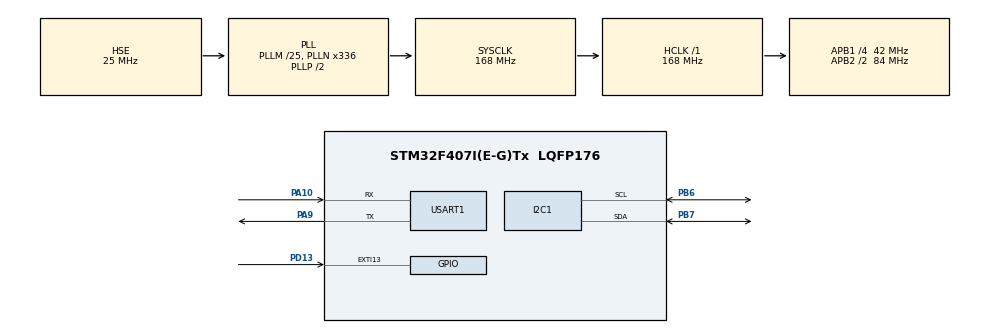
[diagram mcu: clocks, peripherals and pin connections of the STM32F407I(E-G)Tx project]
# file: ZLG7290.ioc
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I2C1.DualAddressMode=I2C_DUALADDRESS_DISABLED
I2C1.GeneralCallMode=I2C_GENERALCALL_ENABLED
Mcu.Family=STM32F4
Mcu.Name=STM32F407I(E-G)Tx
Mcu.Package=LQFP176
NVIC.EXTI15_10_IRQn=true\:0\:0\:false
NVIC.PriorityGroup=NVIC_PRIORITYGROUP_4
NVIC.USART1_IRQn=true\:0\:0\:false
PA10.Mode=Asynchronous
PA10.Signal=USART1_RX
PA9.Mode=Asynchronous
PA9.Signal=USART1_TX
PB6.Mode=I2C
PB6.Signal=I2C1_SCL
PB7.Mode=I2C
PB7.Signal=I2C1_SDA
PD13.GPIO_ModeDefaultEXTI=GPIO_MODE_IT_FALLING
PD13.GPIO_PuPd=GPIO_NOPULL
PD13.Signal=GPXTI13
PH0-OSC_IN.Mode=HSE-External-Oscillator
PH0-OSC_IN.Signal=RCC_OSC_IN
PH1-OSC_OUT.Mode=HSE-External-Oscillator
PH1-OSC_OUT.Signal=RCC_OSC_OUT
ProjectManager.HeapSize=0x200
ProjectManager.StackSize=0x400
ProjectManager.TargetToolchain=MDK-ARM V5
RCC.48MHZClocksFreq_Value=84000000
RCC.AHBFreq_Value=168000000
RCC.APB1CLKDivider=RCC_HCLK_DIV4
RCC.APB1Freq_Value=42000000
RCC.APB1TimFreq_Value=84000000
RCC.APB2CLKDivider=RCC_HCLK_DIV2
RCC.APB2Freq_Value=84000000
RCC.APB2TimFreq_Value=168000000
RCC.CortexFreq_Value=168000000
RCC.HCLKFreq_Value=168000000
RCC.HSE_VALUE=25000000
RCC.HSI_VALUE=16000000
RCC.LSE_VALUE=32768
RCC.PLLM=25
RCC.PLLN=336
RCC.PLLSourceVirtual=RCC_PLLSOURCE_HSE
RCC.SYSCLKFreq_VALUE=168000000
RCC.SYSCLKSource=RCC_SYSCLKSOURCE_PLLCLK
RCC.VCOOutputFreq_Value=336000000
USART1.VirtualMode=VM_ASYNC
board=ZLG7290

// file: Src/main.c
/**
  ******************************************************************************
  * File Name          : main.c
  * Description        : Main program body
  ******************************************************************************
  *
  * COPYRIGHT(c) 2015 STMicroelectronics
  *
  * Redistribution and use in source and binary forms, with or without modification,
  * are permitted provided that the following conditions are met:
  *   1. Redistributions of source code must retain the above copyright notice,
  *      this list of conditions and the following disclaimer.
  *   2. Redistributions in binary form must reproduce the above copyright notice,
  *      this list of conditions and the following disclaimer in the documentation
  *      and/or other materials provided with the distribution.
  *   3. Neither the name of STMicroelectronics nor the names of its contributors
  *      may be used to endorse or promote products derived from this software
  *      without specific prior written permission.
  *
  * THIS SOFTWARE IS PROVIDED BY THE COPYRIGHT HOLDERS AND CONTRIBUTORS "AS IS"
  * AND ANY EXPRESS OR IMPLIED WARRANTIES, INCLUDING, BUT NOT LIMITED TO, THE
  * IMPLIED WARRANTIES OF MERCHANTABILITY AND FITNESS FOR A PARTICULAR PURPOSE ARE
  * DISCLAIMED. IN NO EVENT SHALL THE COPYRIGHT HOLDER OR CONTRIBUTORS BE LIABLE
  * FOR ANY DIRECT, INDIRECT, INCIDENTAL, SPECIAL, EXEMPLARY, OR CONSEQUENTIAL
  * DAMAGES (INCLUDING, BUT NOT LIMITED TO, PROCUREMENT OF SUBSTITUTE GOODS OR
  * SERVICES; LOSS OF USE, DATA, OR PROFITS; OR BUSINESS INTERRUPTION) HOWEVER
  * CAUSED AND ON ANY THEORY OF LIABILITY, WHETHER IN CONTRACT, STRICT LIABILITY,
  * OR TORT (INCLUDING NEGLIGENCE OR OTHERWISE) ARISING IN ANY WAY OUT OF THE USE
  * OF THIS SOFTWARE, EVEN IF ADVISED OF THE POSSIBILITY OF SUCH DAMAGE.
  *
  ******************************************************************************
  */
#include "stm32f4xx_hal.h"
#include "stm32f4xx_it.h"
#include "i2c.h"
#include "usart.h"
#include "gpio.h"
#include "time.h"
/* USER CODE BEGIN Includes */
#include "zlg7290.h"
#include "stdio.h"
#include "stdlib.h"
/* USER CODE END Includes */

/* USER CODE BEGIN PV */
/* Private variables ---------------------------------------------------------*/
#define ZLG_READ_ADDRESS1         0x01
#define ZLG_READ_ADDRESS2         0x10
#define ZLG_WRITE_ADDRESS1        0x10
#define ZLG_WRITE_ADDRESS2        0x11
//#define BUFFER_SIZE1              (countof(Tx1_Buffer))
#define BUFFER_SIZE2              (countof(Rx2_Buffer))
#define countof(a) (sizeof(a) / sizeof(*(a)))

#define Num_Backup 3 //定义备份的数量
#define Clock_Max 0xffffffffffffffff
#define ARG_FADE_FLAG 1
#define ARG_RX2_BUFFER 2
#define ARG_READ_IN 3

#define Key 5

//uint8_t flag;//?????????????
uint8_t flag1 = 0;//?????,??????????,?????8??????
uint8_t Rx2_Buffer[8]={0};
uint8_t Rx2_Buffer_print[8]={0};
uint8_t All_Zero[8] = {0};
uint8_t Init_times = 0;

uint8_t fade_flag = 0;

uint8_t ve_Rx2; // 校验
uint8_t ve_Read;
uint8_t ve_fade;

uint8_t done_list = 0;
clock_t start, ct_time; //
double pass_time;
double pass_init_time;
clock_t last_init;

clock_t last_refresh;
uint8_t im_refresh;

uint8_t m_index;
uint32_t music[] = {261, 277, 293, 311, 329, 349, 370, 392, 415, 440, 466, 493, 523, 554, 587, 622};

uint32_t Max_delay = 1000; // ms
uint32_t Sequance = 0;

uint8_t Read_in = 0;
uint8_t Read_in_Check = 0;
uint8_t read_ok = 0;
uint8_t read_time = 0;
uint8_t ve_count = 0;

//备份结构体
typedef struct backup {
	uint8_t Rx2_Buffer[8];
	uint8_t Read_in;
	uint8_t fade_flag;
	uint8_t v_Rx2; // 校验
	uint8_t v_Read;
	uint8_t v_fade;
}Backup;

//备份结构体指针
typedef struct Node {
	Backup backup;
	struct Node* next;
}Node;

Node* Leader; // 备份链表的头结点

//uint8_t Rx1_Buffer[1]={0};
/* USER CODE END PV */

void SystemClock_Config(void);

/* USER CODE BEGIN PFP */
/* Private function prototypes -----------------------------------------------*/
void swtich_key(void);
void switch_flag(void);
void headLoop(void);
void bottomLoop(void);
void showScreen(void);
uint8_t* getvalue(uint8_t opt);
/* USER CODE END PFP */

//初始化备份节点
int init_Backup() {
	int i,j;
	Leader = (Node*)malloc(sizeof(Node));
	Node* temp = Leader;
	Node* New;
	Node* wait_free[15];
	Leader->next = NULL;
	for (i = 0; i < Num_Backup - 1; i++) {
		//转变位置
		for (j = 0; j < 5; j++) {
			wait_free[i*5+j] = (Node*)malloc(sizeof(Node));
			if (wait_free[i*5+j] == NULL) {
				printf("[SysInfo] Malloc Error\n");
				return -1;
			}
		}
		New = (Node*)malloc(sizeof(Node));
		if (New == NULL) {
				printf("[SysInfo] Malloc Error\n");
				return -1;
		}
		temp->next = New;
		temp = New;
	}
	for(i = 0; i < 10;i++){
		free(wait_free[i]);
	}
	return 0;
}

//计算校验位
void compute_vbit(Backup* backup) {
	int8_t count = 0;
	int i;
	for (i = 0; i < 8; i++) {
		count += backup->Rx2_Buffer[i];
	}
	backup->v_Rx2 = count;
	backup->v_fade = backup->fade_flag;
	backup->v_Read = backup->Read_in;
}
void computer_vRx2(uint8_t Rx2_Buffer[]){
	int8_t count = 0;
	int i;
	for (i = 0; i < 8; i++) {
		count += Rx2_Buffer[i];
	}
	ve_Rx2 = count;
}
int verify_all(Backup* backup){
	int8_t count = 0;
	int i;
	for (i = 0; i < 8; i++) {
		count += backup->Rx2_Buffer[i];
	}
	if((backup->v_Rx2 == count) && (backup->v_fade == backup->fade_flag) && (backup->Read_in ==backup->v_Read))
		return 1;
	else
		return 0;
}
//验证校验位是否正确，返回1表示验证正确，返回0即错误
int verify_Rx2(uint8_t Rx2_Buffer[]) {
	ve_count = 0;
	for (int i = 0; i < 8; i++) {
		ve_count += Rx2_Buffer[i];
	}
	return ve_Rx2 == ve_count;
}

int verify_Read_in(uint8_t Read_in){
	return Read_in == ve_Read;
}
//更新备份
void update() {
	Node* temp = Leader;
	int i;
	while (temp != NULL) {
		for (i = 0; i < 8; i++) {
			temp->backup.Rx2_Buffer[i] = Rx2_Buffer[i];
		}
		temp->backup.fade_flag = fade_flag;
		temp->backup.Read_in = Read_in;
		temp = temp->next;
	}
}

void update_cer(uint8_t file){
	Node* temp = Leader;
	int i;
	while (temp != NULL) {
		switch(file){
			case ARG_FADE_FLAG:temp->backup.fade_flag = fade_flag;break;
			case ARG_RX2_BUFFER: {
				for (i = 0; i < 8; i++) {
					temp->backup.Rx2_Buffer[i] = Rx2_Buffer[i];
				}
			}break;
			case ARG_READ_IN:temp->backup.Read_in = Read_in;break;
		}
		temp = temp->next;
	}
}
//每次正确读之后写其它备份节点
void write(Backup *std) {
	Node* temp = Leader;
	while (temp != NULL) {
		temp->backup = *std;
		temp = temp->next;
	}
}
//从备份节点中读
void read() {
	Node* temp = Leader;
	int i;
	while (temp!= NULL) {
		if (verify_all(&temp->backup)) {
			for (i = 0; i < 8; i++) {
				Rx2_Buffer[i] = temp->backup.Rx2_Buffer[i];
			}
			fade_flag = temp->backup.fade_flag;
			Read_in = temp->backup.Read_in;
			write(&temp->backup); //将其他备份修改为此备份
			break;
		}
		temp = temp->next;
	}
}

void get_Cer(int cer){
	Node* temp = Leader;
	int i;
	while (temp!= NULL) {
		if (verify_all(&temp->backup)) {
			switch(cer){
				case ARG_FADE_FLAG:
					fade_flag = temp->backup.fade_flag;
					break;
				case ARG_RX2_BUFFER:
					for (i = 0; i < 8; i++) {
						Rx2_Buffer[i] = temp->backup.Rx2_Buffer[i];
					}

					break;
				case ARG_READ_IN:
					Read_in = temp->backup.Read_in;
					break;
			}
			break;
		}
		temp = temp->next;
	}
}

void time_delay() {
	if (Max_delay) {
		uint32_t rand_delay = rand() % Max_delay;
		HAL_Delay(rand_delay);
		Max_delay -= rand_delay;
	}
}

void Mealy(int i){
	Sequance = 0;
	done_list = 0;
	switch(i){
		case 1:headLoop();bottomLoop(); done_list = 1;break;		//开始
		case 2:bottomLoop();headLoop(); done_list = 1;break;		//取数据+显示数据
	}
	if(done_list)
		showScreen();
	else
		printf("[SysErr] Out Of Order!\n");
}
/*
int Mealy(int i){
	switch(i){
		case 1:bottomLoop();				//开始
		case 2:headLoop();break;		//取数据+显示数据
	}
}
*/
int statusJustice(){
	if((pass_time < 3 && *getvalue(ARG_FADE_FLAG) != 0)){
		return 0;
	}
	return 1;				//0 异常 1 正常
}

uint8_t* getvalue(uint8_t opt){
	switch(opt){
		//fade_flag
		case ARG_FADE_FLAG:
			if(fade_flag != ve_fade){
				get_Cer(ARG_FADE_FLAG);
				update_cer(ARG_FADE_FLAG);
				ve_fade = fade_flag;
			}
			return &fade_flag;

		//Rx2_Buffer
		case ARG_RX2_BUFFER:
			if(!verify_Rx2(Rx2_Buffer))
				get_Cer(ARG_RX2_BUFFER);
				update_cer(ARG_RX2_BUFFER);
				computer_vRx2(Rx2_Buffer);
			return Rx2_Buffer;
		//Read_in
		case ARG_READ_IN:
			if(Read_in != ve_Read){
				get_Cer(ARG_READ_IN);
				update_cer(ARG_READ_IN);
				ve_Read = Read_in;
			}
			return &Read_in;
	}
	return NULL;
}

void reInitData(){

  /* MCU Configuration----------------------------------------------------------*/

  /* Reset of all peripherals, Initializes the Flash interface and the Systick. */
  HAL_Init();

  /* Configure the system clock */
  SystemClock_Config();

  /* Initialize all configured peripherals */
  MX_GPIO_Init(); // 使用之前初始化 周期性刷新
  MX_I2C1_Init();
  MX_USART1_UART_Init();
  last_init = HAL_GetTick();
  /* USER CODE BEGIN 2 */
	/*
	printf("\n\r");
	printf("\n\r-------------------------------------------------\r\n");
	printf("\n\r FS-STM32??? ?????????\r\n");
  */

	/* USER CODE END 2 */

  /* Infinite loop */
  /* USER CODE BEGIN WHILE */
}

void headLoop(){
	srand(HAL_GetTick());
	Max_delay = 1;
	Sequance = 0;
	ct_time = HAL_GetTick();

	pass_time = (double)(ct_time - start) / 1000;
	if(pass_time > 3 && *getvalue(ARG_FADE_FLAG) == 0){
		fade_flag = 1;
		//输出休眠
		printf("[SysInfo] sleep\n");
		//更新备份
		update();
	}

	// 防止计时器翻转，定义Clock_Max
	pass_init_time = (double)(ct_time - last_init);
	if (pass_init_time < 0) {
		pass_init_time += (double)Clock_Max;
	}
	if(pass_init_time > 11451 && flag1 != 1){
		reInitData();
	}

	if(!statusJustice()){
			//恢复备份s
		read();
	}
}
void bottomLoop(){
	//Debug

	if(flag1 == 1) // 超时初始化处理
	{
			flag1 = 0;
			m_index = 100; //init
			start = HAL_GetTick();
			if(*getvalue(ARG_FADE_FLAG) > 0) {
				I2C_ZLG7290_Write(&hi2c1,0x70,ZLG_WRITE_ADDRESS1,getvalue(ARG_RX2_BUFFER),8);
				fade_flag = 0;
				ve_fade =fade_flag;
				update();
				//输出唤醒
				printf("[SysInfo] wake up\n");
				return ;
			}

			// I2C_ZLG7290_Read(&hi2c1,0x71,0x01,Rx2_Buffer + 7,1);// 不读两次处理 solved

			uint8_t *p1 = &Read_in;
			uint8_t *p2 = &Read_in_Check;
			read_ok = 0;
			read_time = 0;
			int rtn = 0, rtn_check = 0;
			while(!read_ok){
				rtn = I2C_ZLG7290_Read(&hi2c1,0x71,0x01,p1,1);
				rtn_check = I2C_ZLG7290_Read(&hi2c1,0x71,0x01,p2,1);
				if (rtn == -1 || rtn_check == -1) {
					break;
				}
				if (Read_in == Read_in_Check) {
					read_ok = 1;
					Read_in ^= Key;
				}
				if (++read_time > 10) {
					break;
				}
			}
			if (!read_ok) {
				reInitData();
				printf("[SysInfo] Please retype a letter\n");
				return;
			}

			// uint8_t *p = &Read_in;
			// I2C_ZLG7290_Read(&hi2c1,0x71,0x01,p,1);

			ve_Read = Read_in; // 更新read_in校验值
			uint8_t *p = getvalue(ARG_RX2_BUFFER); // 更新Rx2_Buffer校验值
			for (int i = 7; i > 0; i--) {
				Rx2_Buffer[i] = Rx2_Buffer[i-1];
			}
			//更新校验，延时，更新备份
			computer_vRx2(Rx2_Buffer);
			time_delay();
			update();

		Sequance++;
		if (Sequance != 1) {
			printf("Out of order");
			return;
		}
//	I2C_ZLG7290_Read(&hi2c1,0x71,0x10,Rx2_Buffer,7);//?8????

		switch_flag();

		MX_GPIO_Init(); // 更新蜂鸣器引脚
		HAL_Delay_ms(1); // 同步时钟节拍
		//不同按键伴随不同音调的声音
		for(int i = 0;i<28;i++){
			HAL_GPIO_WritePin(GPIOG,GPIO_PIN_6,GPIO_PIN_SET);//打开蜂鸣器
			HAL_Delay_ms(500000/(music[m_index - 1]));//
			HAL_GPIO_WritePin(GPIOG,GPIO_PIN_6,GPIO_PIN_RESET);//关闭蜂鸣器
			HAL_Delay_ms(500000/(music[m_index - 1]));//
		}
	}
}

void showScreen(){
	if(*getvalue(ARG_FADE_FLAG) == 0) { // 工作状态
		pass_init_time = (double)(ct_time - last_init);
		double pass_refresh_time = HAL_GetTick() - last_refresh;
		if (pass_refresh_time < 0) {
			pass_refresh_time += (double)Clock_Max;
		}

		if(im_refresh == 1 || pass_refresh_time > 1000){
			I2C_ZLG7290_Write(&hi2c1,0x70,ZLG_WRITE_ADDRESS1,Rx2_Buffer,BUFFER_SIZE2);
			time_delay();
			im_refresh = 0;
			last_refresh = HAL_GetTick();
		}
	} else { // 休眠状态
		for(int i = 0; i < 8; i++){
			All_Zero[i] = 0; // 清屏
		}
		I2C_ZLG7290_Write(&hi2c1,0x70,ZLG_WRITE_ADDRESS1,All_Zero,BUFFER_SIZE2);
		time_delay();
		im_refresh = 0;
		last_refresh = HAL_GetTick();
	}
}

int main(void)
{
  reInitData();
	Init_times = 3;
	while(init_Backup() != 0) {
		Init_times--;
		if (Init_times <= 0) {
			printf("[SysErr]: Init Backup Error. Programe Exit!\n");
			return -1;
		}
	}
  start = HAL_GetTick();
	last_refresh = HAL_GetTick();
  while (1)
  {
		int temp = rand() % 2 + 1;
		Mealy(temp);	//状态开始

  }
  /* USER CODE END 3 */

}

/** System Clock Configuration
*/
void SystemClock_Config(void)
{

  RCC_OscInitTypeDef RCC_OscInitStruct;
  RCC_ClkInitTypeDef RCC_ClkInitStruct;

  __PWR_CLK_ENABLE();

  __HAL_PWR_VOLTAGESCALING_CONFIG(PWR_REGULATOR_VOLTAGE_SCALE1);

  RCC_OscInitStruct.OscillatorType = RCC_OSCILLATORTYPE_HSE;
  RCC_OscInitStruct.HSEState = RCC_HSE_ON;
  RCC_OscInitStruct.PLL.PLLState = RCC_PLL_ON;
  RCC_OscInitStruct.PLL.PLLSource = RCC_PLLSOURCE_HSE;
  RCC_OscInitStruct.PLL.PLLM = 25;
  RCC_OscInitStruct.PLL.PLLN = 336;
  RCC_OscInitStruct.PLL.PLLP = RCC_PLLP_DIV2;
  RCC_OscInitStruct.PLL.PLLQ = 4;
  HAL_RCC_OscConfig(&RCC_OscInitStruct);

  RCC_ClkInitStruct.ClockType = RCC_CLOCKTYPE_SYSCLK|RCC_CLOCKTYPE_PCLK1
                              |RCC_CLOCKTYPE_PCLK2;
  RCC_ClkInitStruct.SYSCLKSource = RCC_SYSCLKSOURCE_PLLCLK;
  RCC_ClkInitStruct.AHBCLKDivider = RCC_SYSCLK_DIV1;
  RCC_ClkInitStruct.APB1CLKDivider = RCC_HCLK_DIV4;
  RCC_ClkInitStruct.APB2CLKDivider = RCC_HCLK_DIV2;
  HAL_RCC_ClockConfig(&RCC_ClkInitStruct, FLASH_LATENCY_5);

  HAL_SYSTICK_Config(HAL_RCC_GetHCLKFreq()/1000000); //modify

  HAL_SYSTICK_CLKSourceConfig(SYSTICK_CLKSOURCE_HCLK);

  /* SysTick_IRQn interrupt configuration */
  HAL_NVIC_SetPriority(SysTick_IRQn, 0, 0);
}

void switch_flag(void){
	//校验Rx2_Buffer[0]
	Sequance++;
	if (Sequance != 2) {
		printf("Out of order");
		return;
	}
	switch(*getvalue(ARG_READ_IN) ^ Key){
			case 0x1C:
				Rx2_Buffer[0] = 0x0c;
			  m_index = 1;
				break;
			case 0x1B:
				Rx2_Buffer[0] = 0xDA;
				m_index = 2;
				break;
			case 0x1A:
				Rx2_Buffer[0] = 0xF2;
				m_index = 3;
				break;
			case 0x14:
				Rx2_Buffer[0] = 0x66;
				m_index = 4;
				break;
			case 0x13:
				Rx2_Buffer[0] = 0xB6;
				m_index = 5;
				break;
			case 0x12:
				Rx2_Buffer[0] = 0xBE;
				m_index = 6;
				break;
			case 0x0c:
				Rx2_Buffer[0] = 0xE0;
				m_index = 7;
				break;
			case 0x0B:
				Rx2_Buffer[0] = 0xFE;
				m_index = 8;
				break;
			case 0x0A:
				Rx2_Buffer[0] = 0xE6;
				m_index = 9;
				break;
			case 0x19:
				Rx2_Buffer[0] = 0xEE;
				m_index = 10;
				break;
			case 0x11:
				Rx2_Buffer[0] = 0x3E;
				m_index = 11;
				break;
			case 0x09:
				Rx2_Buffer[0] = 0x9C;
				m_index = 12;
				break;
			case 0x01:
				Rx2_Buffer[0] = 0x7A;
				m_index = 13;
				break;
			case 0x02:
				printf("[SysInfo] Clear Screen\n");
				im_refresh = 1;
				for (int i = 0; i < 8; i++) {
					Rx2_Buffer[i] = 0;
				}
				m_index = 14;
				return;
			case 0x03:
				Rx2_Buffer[0] = 0xFC;
				m_index = 15;
				break;
			default:
				Rx2_Buffer[0] = 0xFF;
				m_index = 16;
				break;
		}
		//更新校验
		computer_vRx2(Rx2_Buffer);
		//输出按键信息
		if(Rx2_Buffer[0] == 0xFF){
			printf("[SysInfo] invalid input\n");
			return;
		}
		printf("[SysInfo] valid input code:%d\n", Rx2_Buffer[0]);
		if (!verify_Rx2(Rx2_Buffer)) {
			printf("[SysInfo] wrong with Rx2_buffer!\n");
			read();
		}
		im_refresh = 1;

}

void HAL_GPIO_EXTI_Callback(uint16_t GPIO_Pin)
{
	flag1 = 1;
}
int fputc(int ch, FILE *f)
{
  uint8_t tmp[1]={0};
	tmp[0] = (uint8_t)ch;
	HAL_UART_Transmit(&huart1,tmp,1,10);
	return ch;
}
/* USER CODE END 4 */

/************************ (C) COPYRIGHT STMicroelectronics *****END OF FILE****/
